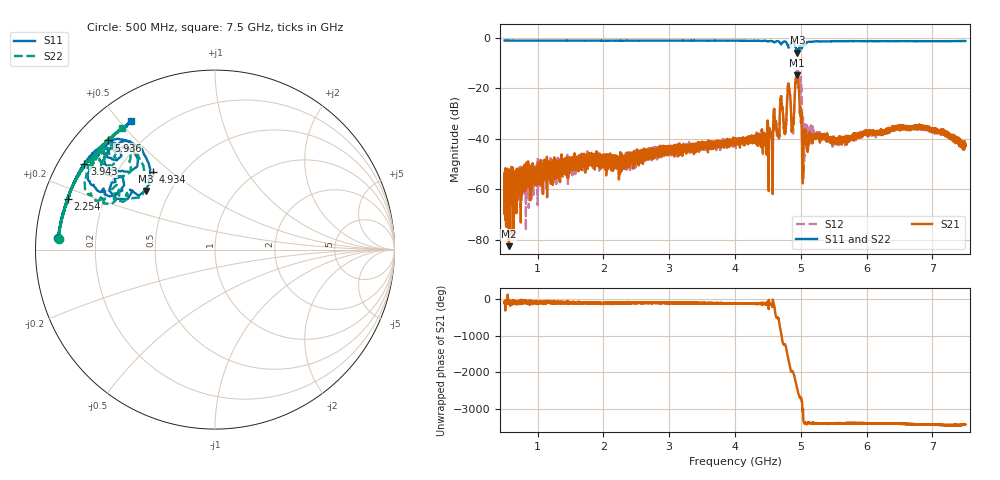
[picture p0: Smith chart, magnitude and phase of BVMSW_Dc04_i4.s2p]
!Keysight Technologies,M9374A,MY55442783,A.12.55.05
!Date: Thursday, May 20, 2021 18:14:08
!Correction: S11(Full 2 Port(1,2))
!S21(Full 2 Port(1,2))
!S12(Full 2 Port(1,2))
!S22(Full 2 Port(1,2))
!S2P File: Measurements: S11, S21, S12, S22:
# Hz S  RI  R 50
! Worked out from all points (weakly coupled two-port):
!   7001 points, 500 MHz to 7.5 GHz, reference 50 ohm
!   highest |S21| = -14.89 dB at 4.938 GHz (marker M1); lowest = -82.5 dB at 566 MHz (marker M2)
!   lowest |S11| = -6.0 dB at 4.947 GHz (marker M3), VSWR 3.03, Z = 18.5 + j16.2 ohm
!   |S11| at or under -10 dB: nowhere
!   |S22| runs from -6.0 to -1.1 dB; largest |S21 - S12| = 0.19
!   S11 on the Smith chart (normalised r, x): 500 MHz: 0.07, +0.04; 2.254 GHz: 0.07, +0.17; 3.943 GHz: 0.08, +0.30; 4.934 GHz: 0.35, +0.43; 5.936 GHz: 0.10, +0.42; 7.5 GHz: 0.10, +0.54
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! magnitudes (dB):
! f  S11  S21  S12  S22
! 500 MHz  -1.2  -53.5  -55.4  -1.2
! 566 MHz  -1.2  -82.5  -58.5  -1.2
! 1.667 GHz  -1.2  -49.3  -51.1  -1.2
! 2.254 GHz  -1.2  -50.6  -46.8  -1.2
! 2.834 GHz  -1.2  -43.7  -45.1  -1.2
! 3.943 GHz  -1.2  -41.4  -41.2  -1.3
! 4 GHz  -1.2  -41.3  -41.8  -1.3
! 4.543 GHz  -1.3  -37.4  -38.3  -1.4
! 4.709 GHz  -2.3  -26.2  -25.7  -2.3
! 4.757 GHz  -1.5  -37.9  -37.1  -1.6
! 4.817 GHz  -3.8  -18.9  -18.7  -3.7
! 4.878 GHz  -2.0  -34.8  -37.5  -2.1
! 4.934 GHz  -5.2  -15.1  -13.7  -4.8
! 4.938 GHz  -5.5  -14.9  -13.2  -5.2
! 4.947 GHz  -6.0  -15.9  -13.0  -5.9
! 4.981 GHz  -3.3  -26.6  -16.7  -3.8
! 5.036 GHz  -3.2  -48.4  -32.2  -3.1
! 5.08 GHz  -2.2  -38.0  -41.5  -2.1
! 5.167 GHz  -1.7  -40.0  -37.9  -1.7
! 5.936 GHz  -1.4  -38.7  -39.2  -1.4
! 6.334 GHz  -1.4  -37.1  -37.0  -1.3
! 7.5 GHz  -1.4  -42.4  -43.2  -1.4
